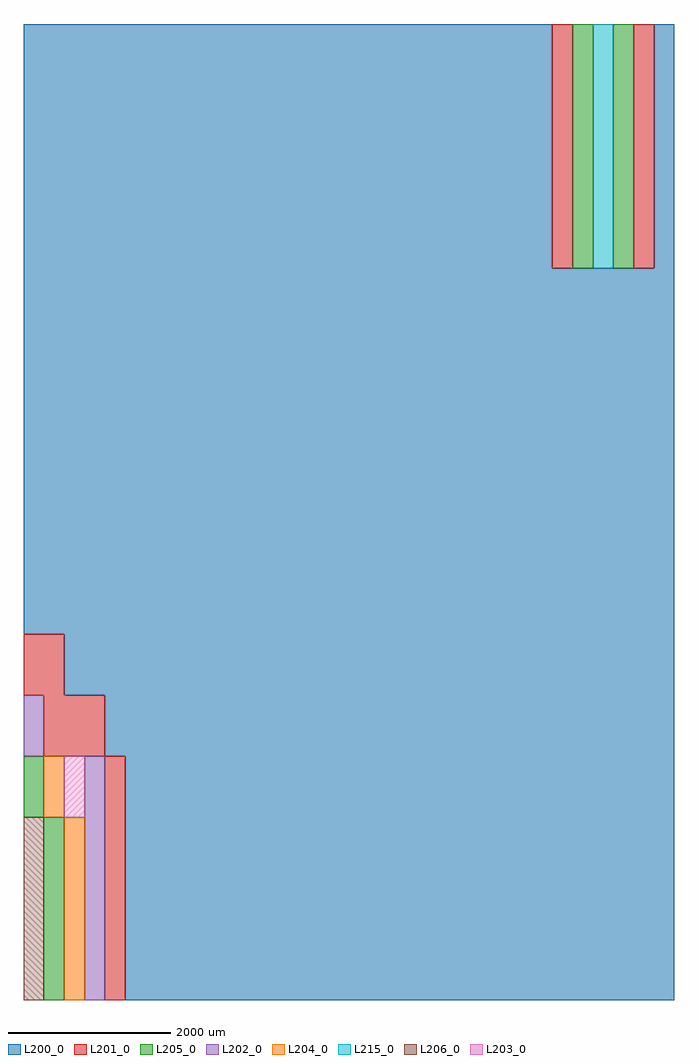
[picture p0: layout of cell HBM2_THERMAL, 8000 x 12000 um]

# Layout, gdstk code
import gdstk
lib = gdstk.Library(unit=1e-6, precision=1e-09)
def R(c, l, rs):  # rectangles x0, y0, x1, y1
    for r in rs: c.add(gdstk.rectangle(r[:2], r[2:], *l))
def A(c, l, x, y, w, h, nx, ny, dx, dy):  # array of equal rectangles
    R(c, l, [(x+i*dx, y+j*dy, x+i*dx+w, y+j*dy+h) for i in range(nx) for j in range(ny)])
L200_0 = (200, 0)
L201_0 = (201, 0)
L202_0 = (202, 0)
L203_0 = (203, 0)
L204_0 = (204, 0)
L205_0 = (205, 0)
L206_0 = (206, 0)
L215_0 = (215, 0)

hbm2_thermal = lib.new_cell('HBM2_THERMAL')
A(hbm2_thermal, L200_0, 1250, 0, 250, 750, 27, 4, 250, 750)
A(hbm2_thermal, L200_0, 1000, 3000, 250, 750, 28, 1, 250, 0)
A(hbm2_thermal, L200_0, 500, 3750, 250, 750, 30, 1, 250, 0)
A(hbm2_thermal, L200_0, 0, 4500, 250, 750, 32, 6, 250, 750)
A(hbm2_thermal, L200_0, 0, 9000, 250, 750, 26, 4, 250, 750)
A(hbm2_thermal, L200_0, 7750, 9000, 250, 750, 1, 4, 0, 750)
A(hbm2_thermal, L201_0, 1000, 0, 250, 750, 1, 4, 0, 750)
A(hbm2_thermal, L201_0, 250, 3000, 250, 750, 3, 1, 250, 0)
A(hbm2_thermal, L201_0, 6500, 9000, 250, 750, 1, 4, 0, 750)
A(hbm2_thermal, L201_0, 7500, 9000, 250, 750, 1, 4, 0, 750)
R(hbm2_thermal, L201_0, [(0,3750,250,4500), (250,3750,500,4500)])
A(hbm2_thermal, L202_0, 750, 0, 250, 750, 1, 4, 0, 750)
R(hbm2_thermal, L202_0, [(0,3000,250,3750)])
R(hbm2_thermal, L203_0, [(500,2250,750,3000)])
A(hbm2_thermal, L204_0, 500, 0, 250, 750, 1, 3, 0, 750)
R(hbm2_thermal, L204_0, [(250,2250,500,3000)])
A(hbm2_thermal, L205_0, 250, 0, 250, 750, 1, 3, 0, 750)
A(hbm2_thermal, L205_0, 6750, 9000, 250, 750, 1, 4, 0, 750)
A(hbm2_thermal, L205_0, 7250, 9000, 250, 750, 1, 4, 0, 750)
R(hbm2_thermal, L205_0, [(0,2250,250,3000)])
A(hbm2_thermal, L206_0, 0, 0, 250, 750, 1, 3, 0, 750)
A(hbm2_thermal, L215_0, 7000, 9000, 250, 750, 1, 4, 0, 750)

lib.write_gds('HBM2_THERMAL.gds')
